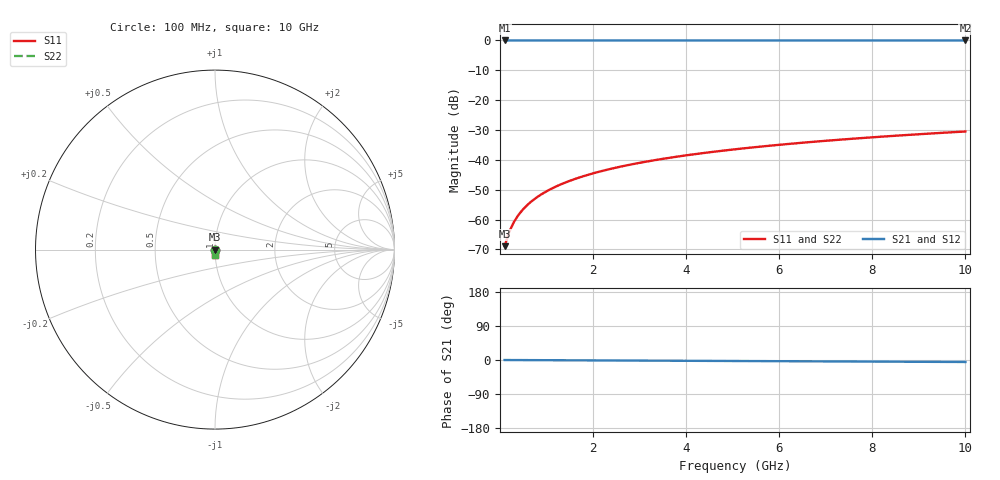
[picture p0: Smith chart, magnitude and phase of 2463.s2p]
# Hz S RI R 50.00
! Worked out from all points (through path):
!   100 points, 100 MHz to 10 GHz, reference 50 ohm
!   highest |S21| = 0.00 dB at 100 MHz (marker M1); lowest = 0.0 dB at 10 GHz (marker M2)
!   lowest |S11| = -68.9 dB at 100 MHz (marker M3), VSWR 1.00, Z = 50 - j0.0297 ohm
!   |S11| at or under -10 dB: start of sweep to end of sweep
!   |S22| runs from -68.9 to -30.5 dB; largest |S21 - S12| = 0
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1e8  0.000202 -0.000297  0.9998 -0.000914  0.9998 -0.000914  0.000202 -0.000297
2e8  0.000202 -0.000594  0.9998 -0.00183  0.9998 -0.00183  0.000202 -0.000594
3e8  0.000201 -0.000891  0.9998 -0.00274  0.9998 -0.00274  0.000201 -0.000891
4e8  0.000199 -0.00119  0.9998 -0.00365  0.9998 -0.00365  0.000199 -0.00119
5e8  0.000197 -0.00148  0.9998 -0.00457  0.9998 -0.00457  0.000197 -0.00148
6e8  0.000194 -0.00178  0.9998 -0.00548  0.9998 -0.00548  0.000194 -0.00178
7e8  0.00019 -0.00208  0.9998 -0.0064  0.9998 -0.0064  0.00019 -0.00208
8e8  0.000186 -0.00238  0.9998 -0.00731  0.9998 -0.00731  0.000186 -0.00238
9e8  0.000181 -0.00267  0.9997 -0.00822  0.9997 -0.00822  0.000181 -0.00267
1.1e9  0.00017 -0.00327  0.9997 -0.0101  0.9997 -0.0101  0.00017 -0.00327
1.4e9  0.00015 -0.00416  0.9997 -0.0128  0.9997 -0.0128  0.00015 -0.00416
1.8e9  0.000114 -0.00535  0.9996 -0.0165  0.9996 -0.0165  0.000114 -0.00535
2.1e9  8.13e-05 -0.00624  0.9996 -0.0192  0.9996 -0.0192  8.13e-05 -0.00624
2.5e9  3.02e-05 -0.00743  0.9995 -0.0229  0.9995 -0.0229  3.02e-05 -0.00743
2.9e9  -2.97e-05 -0.00862  0.9994 -0.0265  0.9994 -0.0265  -2.97e-05 -0.00862
3.4e9  -0.000117 -0.0101  0.9992 -0.0311  0.9992 -0.0311  -0.000117 -0.0101
4.2e9  -0.000285 -0.0125  0.9989 -0.0384  0.9989 -0.0384  -0.000285 -0.0125
5.1e9  -0.000517 -0.0152  0.9985 -0.0467  0.9985 -0.0467  -0.000517 -0.0152
5.9e9  -0.00076 -0.0176  0.9981 -0.054  0.9981 -0.054  -0.00076 -0.0176
6.7e9  -0.00104 -0.0199  0.9976 -0.0614  0.9976 -0.0614  -0.00104 -0.0199
8.4e9  -0.00175 -0.025  0.9964 -0.077  0.9964 -0.077  -0.00175 -0.025
1e10  -0.00257 -0.0298  0.995 -0.0917  0.995 -0.0917  -0.00257 -0.0298
